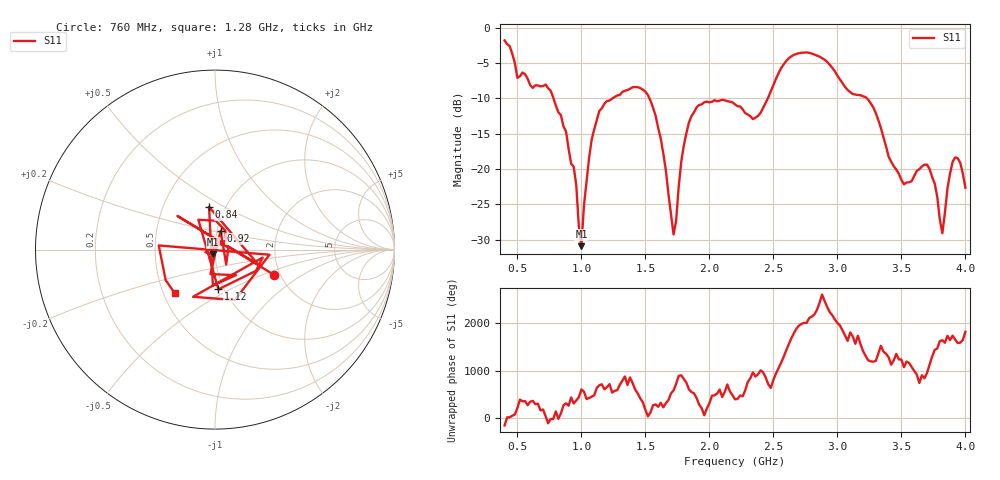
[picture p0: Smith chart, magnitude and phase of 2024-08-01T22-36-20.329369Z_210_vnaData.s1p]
!Created with skrf (http://scikit-rf.org).
# Hz S RI R 50.0
!freq ReS11 ImS11
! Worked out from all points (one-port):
!   181 points, 400 MHz to 4 GHz, reference 50 ohm
!   lowest |S11| = -30.9 dB at 1 GHz (marker M1), VSWR 1.06, Z = 48.7 - j2.47 ohm
!   |S11| at or under -10 dB: 781.7 MHz to 1.245 GHz (462.9 MHz wide, 45.7 % of centre); 1.531 GHz to 2.457 GHz (925.8 MHz wide, 46.4 % of centre); 3.23 GHz to end of sweep
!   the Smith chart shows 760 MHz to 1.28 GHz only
!   S11 on the Smith chart (normalised r, x): 760 MHz: 1.85, -0.60; 840 MHz: 0.84, +0.42; 920 MHz: 1.04, +0.22; 1.12 GHz: 0.94, -0.44; 1.28 GHz: 0.57, -0.31
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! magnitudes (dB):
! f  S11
! 400 MHz  -1.8
! 500 MHz  -7.1
! 760 MHz  -8.9
! 840 MHz  -12.4
! 860 MHz  -14.0
! 920 MHz  -19.2
! 960 MHz  -22.3
! 1 GHz  -30.9
! 1.06 GHz  -18.4
! 1.12 GHz  -13.1
! 1.28 GHz  -9.6
! 1.3 GHz  -9.5
! 1.54 GHz  -10.4
! 1.62 GHz  -15.7
! 1.72 GHz  -29.2
! 1.76 GHz  -22.5
! 1.82 GHz  -14.9
! 1.9 GHz  -11.3
! 2.2 GHz  -10.9
! 2.38 GHz  -12.5
! 2.66 GHz  -3.9
! 3.1 GHz  -9.1
! 3.26 GHz  -10.7
! 3.56 GHz  -21.9
! 3.7 GHz  -19.4
! 3.82 GHz  -29.1
! 3.9 GHz  -19.0
! 4 GHz  -22.6
